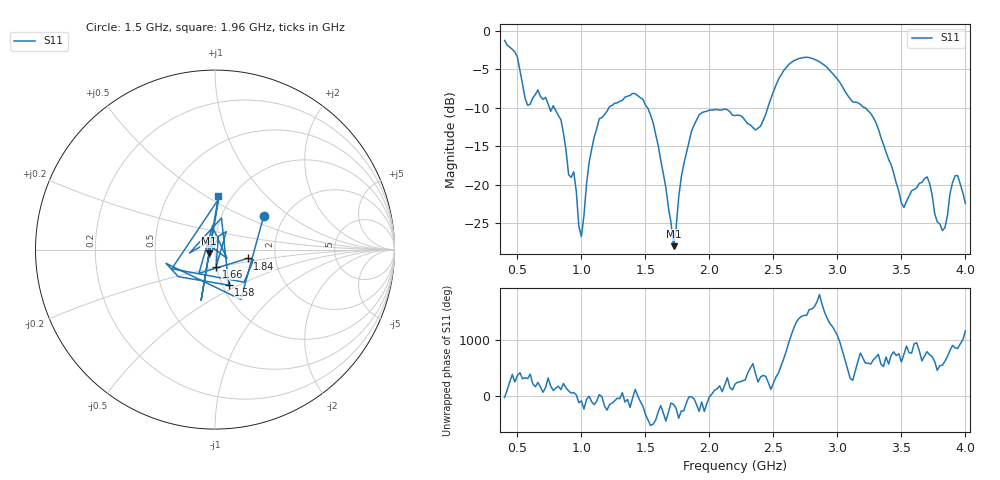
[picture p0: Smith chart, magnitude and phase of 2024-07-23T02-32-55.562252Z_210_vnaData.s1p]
!Created with skrf (http://scikit-rf.org).
# Hz S RI R 50.0
!freq ReS11 ImS11
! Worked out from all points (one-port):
!   181 points, 400 MHz to 4 GHz, reference 50 ohm
!   lowest |S11| = -28.0 dB at 1.72 GHz (marker M1), VSWR 1.08, Z = 46.7 - j1.9 ohm
!   |S11| at or under -10 dB: 787.9 MHz to 1.215 GHz (427.1 MHz wide, 42.7 % of centre); 1.516 GHz to 2.456 GHz (939.9 MHz wide, 47.3 % of centre); 3.215 GHz to end of sweep (the widest 3 of 4)
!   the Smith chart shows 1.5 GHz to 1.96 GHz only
!   S11 on the Smith chart (normalised r, x): 1.5 GHz: 1.58, +0.66; 1.58 GHz: 1.07, -0.44; 1.66 GHz: 0.99, -0.19; 1.84 GHz: 1.44, -0.15; 1.96 GHz: 0.87, +0.57
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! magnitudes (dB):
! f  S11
! 400 MHz  -1.3
! 580 MHz  -9.7
! 660 MHz  -7.7
! 860 MHz  -13.3
! 900 MHz  -18.7
! 940 MHz  -18.3
! 1 GHz  -26.7
! 1.06 GHz  -17.1
! 1.14 GHz  -11.4
! 1.3 GHz  -9.2
! 1.5 GHz  -9.6
! 1.58 GHz  -13.5
! 1.66 GHz  -20.4
! 1.72 GHz  -28.0
! 1.76 GHz  -21.6
! 1.84 GHz  -14.5
! 1.96 GHz  -10.5
! 2.2 GHz  -11.0
! 2.4 GHz  -12.4
! 2.66 GHz  -3.9
! 3.1 GHz  -8.9
! 3.3 GHz  -11.9
! 3.52 GHz  -22.9
! 3.56 GHz  -21.5
! 3.7 GHz  -19.0
! 3.82 GHz  -26.0
! 3.92 GHz  -18.8
! 4 GHz  -22.4
